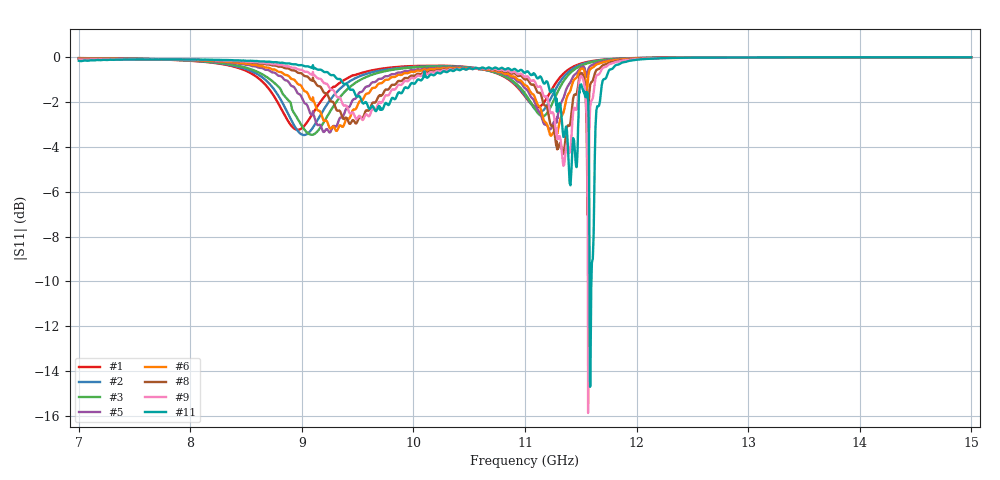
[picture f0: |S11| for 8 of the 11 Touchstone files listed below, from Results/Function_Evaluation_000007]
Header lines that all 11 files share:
! TOUCHSTONE file generated by CST DESIGN STUDIO
! Project name: C:\Work\MatlabApps\UnitCellType2OptimizationMatlab\CST\unitcell.cst
! Tree item: Tasks\Sweep1\SPara1\S-Parameters
! Header version: 2024
! Port assignment regex: !\s*Touchstone port\s*([0-9]+)\s*=\s*(CST MWS port|CST DES external port|CST DES block port)\s*(.+)\s* \(\"(.*)\"\)(\s*mode\s*([0-9]+))?.*
! Touchstone port assignment:
! Touchstone port 1 = CST DES external port 1 ("")
# GHz S MA R 50
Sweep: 7 GHz to 15 GHz
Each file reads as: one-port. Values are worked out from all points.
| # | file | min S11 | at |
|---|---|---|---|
| 1 | DS_for_MWS-run-0001.s1p | -3.2 dB | 8.962 GHz |
| 2 | DS_for_MWS-run-0002.s1p | -3.5 dB | 9.018 GHz |
| 3 | DS_for_MWS-run-0003.s1p | -3.5 dB | 9.086 GHz |
| 4 | DS_for_MWS-run-0004.s1p | -3.5 dB | 9.152 GHz |
| 5 | DS_for_MWS-run-0005.s1p | -3.4 dB | 9.248 GHz |
| 6 | DS_for_MWS-run-0006.s1p | -3.5 dB | 11.28 GHz |
| 7 | DS_for_MWS-run-0007.s1p | -4.0 dB | 11.29 GHz |
| 8 | DS_for_MWS-run-0008.s1p | -7.0 dB | 11.56 GHz |
| 9 | DS_for_MWS-run-0009.s1p | -15.9 dB | 11.57 GHz |
| 10 | DS_for_MWS-run-0010.s1p | -16.6 dB | 11.57 GHz |
| 11 | DS_for_MWS-run-0011.s1p | -14.7 dB | 11.58 GHz |
